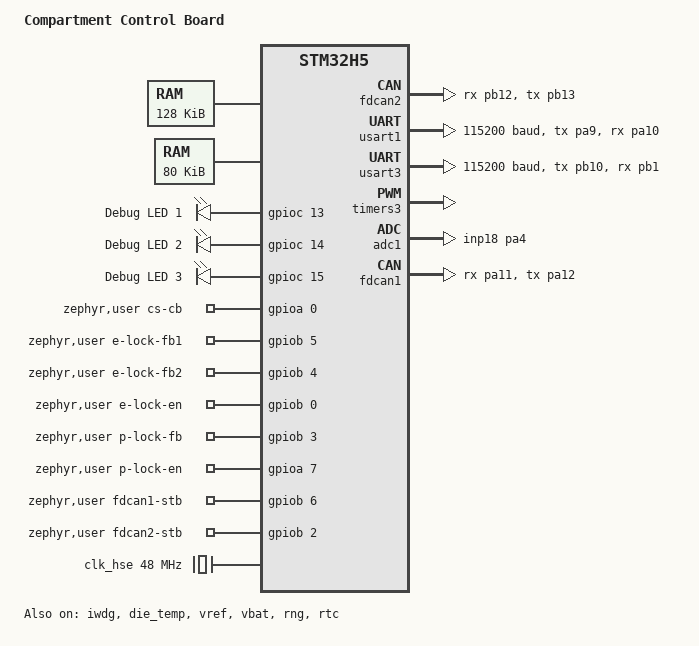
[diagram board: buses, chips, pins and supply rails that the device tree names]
/*
* Copyright (c) 2024 STMicroelectronics
*
* SPDX-License-Identifier: Apache-2.0
*/

/dts-v1/;
#include <mem.h>
#include <st/h5/stm32h5.dtsi>
#include <st/h5/stm32h523cctx-pinctrl.dtsi>
#include <zephyr/dt-bindings/input/input-event-codes.h>

/ {
	model = "Compartment Control Board";
	compatible = "st,nucleo";
	
	sram1: memory@20000000 {
		compatible = "zephyr,memory-region", "mmio-sram";
		reg = <0x20000000 DT_SIZE_K(128)>;
		zephyr,memory-region = "SRAM1";
	};
	
	sram2: memory@20040000 {
		compatible = "zephyr,memory-region", "mmio-sram";
		reg = <0x20040000 DT_SIZE_K(80)>;
		zephyr,memory-region = "SRAM2";
	};
	
	
	soc {
		
		compatible = "st,stm32h533", "st,stm32h5", "simple-bus";
		
		flash-controller@40022000 {
			flash0: flash@8000000 {
				reg = <0x08000000 DT_SIZE_K(512)>;
			};
		};
		
		gpiof: gpio@42021400 {
			compatible = "st,stm32-gpio";
			gpio-controller;
			#gpio-cells = <2>;
			reg = <0x42021400 0x400>;
			clocks = <&rcc STM32_CLOCK_BUS_AHB2 0x00000080>;
		};
		
		fdcan2: can@4000a800 {
			compatible = "st,stm32-fdcan";
			reg = <0x4000a800 0x400>, <0x4000ac00 0x6a0>;
			reg-names = "m_can", "message_ram";
			interrupts = <109 0>, <110 0>;
			interrupt-names = "int0", "int1";
			/* common clock FDCAN 1 & 2 */
			clocks = <&rcc STM32_CLOCK_BUS_APB1_2 0x00000200>;
			bosch,mram-cfg = <0x350 28 8 3 3 0 3 3>;
			status = "disabled";
		};
	};
	
	chosen {
		zephyr,console = &usart1;
		zephyr,shell-uart = &usart1;
		zephyr,sram = &sram1;
		zephyr,flash = &flash0;
		zephyr,code-partition = &slot0_partition;
	};
	
	leds: leds {
		compatible = "gpio-leds";
		led_1_2: led_0 {
			gpios = <&gpioc 13 GPIO_ACTIVE_HIGH>;
			label = "Debug LED 1";
		};
		
		led_2_2: led_1 {
			gpios = <&gpioc 14 GPIO_ACTIVE_HIGH>;
			label = "Debug LED 2";
		};
		
		led_3_2: led_2 {
			gpios = <&gpioc 15 GPIO_ACTIVE_HIGH>;
			label = "Debug LED 3";
		};
	};
	
	zephyr,user {
		cs-cb-gpios = <&gpioa 0 GPIO_ACTIVE_HIGH>;
		e-lock-fb1-gpios = <&gpiob 5 GPIO_ACTIVE_HIGH>;
		e-lock-fb2-gpios = <&gpiob 4 GPIO_ACTIVE_HIGH>;
		e-lock-en-gpios = <&gpiob 0 GPIO_ACTIVE_HIGH>;
		p-lock-fb-gpios = <&gpiob 3 GPIO_ACTIVE_HIGH>;
		p-lock-en-gpios = <&gpioa 7 GPIO_ACTIVE_HIGH>;
		fdcan1-stb-gpios = <&gpiob 6 GPIO_ACTIVE_HIGH>;
		fdcan2-stb-gpios = <&gpiob 2 GPIO_ACTIVE_HIGH>;
	};
	
	aliases {
		debug-led1 = &led_1_2;
		debug-led2 = &led_2_2;
		debug-led3 = &led_3_2;
		
		state-fb = &adc1;
		
		rfid = &usart3;
		
		bat-can = &fdcan1;
		system-can = &fdcan2;
		
		watchdog0 = &iwdg;
		die-temp0 = &die_temp;
		volt-sensor0 = &vref;
		volt-sensor1 = &vbat;
	};
};

&clk_csi {
	status = "disabled";
};

&clk_hsi {
	status = "disabled";
};

&clk_hse {
	clock-frequency = <DT_FREQ_M(48)>;
	status = "okay";
};

&pll {
	div-m = <3>;
	mul-n = <8>;
	div-p = <2>;
	div-q = <2>;
	div-r = <2>;
	clocks = <&clk_hse>;
	status = "okay";
};

&rcc {
	clocks = <&pll>;
	clock-frequency = <DT_FREQ_M(64)>;
	ahb-prescaler = <1>;
	apb1-prescaler = <1>;
	apb2-prescaler = <1>;
	apb3-prescaler = <1>;
};

&usart1 {
	pinctrl-0 = <&usart1_tx_pa9 &usart1_rx_pa10>;
	pinctrl-names = "default";
	current-speed = <115200>;
	status = "okay";
};

&usart3 {
	pinctrl-0 = <&usart3_tx_pb10 &usart3_rx_pb1>;
	pinctrl-names = "default";
	current-speed = <115200>;
	status = "okay";
};

&iwdg {
	status = "okay";
};

&timers3 {
	st,prescaler = <1000>;
	status = "okay";
	
	pwm3: pwm {
		pinctrl-0 = <&tim3_ch3_pb0>;
		pinctrl-names = "default";
		status = "okay";
	};
};

&adc1 {
	pinctrl-0 = <&adc1_inp18_pa4>;
	pinctrl-names = "default";
	st,adc-clock-source = <ASYNC>;
	st,adc-prescaler = <8>;
	status = "okay";
};

&fdcan1 {
	pinctrl-0 = <&fdcan1_rx_pa11 &fdcan1_tx_pa12>;
	pinctrl-names = "default";
	clocks = <&rcc STM32_CLOCK_BUS_APB1_2 0x00000200>,
	<&rcc STM32_SRC_PLL1_Q FDCAN_SEL(1)>;
	clk-divider = <2>;
	status = "okay";
};

&fdcan2 {
	pinctrl-0 = <&fdcan2_rx_pb12 &fdcan2_tx_pb13>;
	pinctrl-names = "default";
	clocks = <&rcc STM32_CLOCK_BUS_APB1_2 0x00000200>,
	<&rcc STM32_SRC_PLL1_Q FDCAN_SEL(1)>;
	clk-divider = <2>;
	status = "okay";
};

&die_temp {
	status = "okay";
};

&vref {
	status = "okay";
};

&vbat {
	status = "okay";
};

&rng {
	status = "okay";
};

&clk_lse {
	status = "disabled";
};

&rtc {
	clocks = <&rcc STM32_CLOCK_BUS_APB3 0x00200000>,
	<&rcc STM32_SRC_LSE RTC_SEL(1)>;
	status = "okay";
};

&flash0 {
	partitions {
		compatible = "fixed-partitions";
		#address-cells = <1>;
		#size-cells = <1>;

		boot_partition: partition@0 {
			label = "mcuboot";
			reg = <0x00000000 DT_SIZE_K(112)>;
			read-only;
		};
		/* The MCUBoot swap-move algorithm uses the last 2 sectors
		 * of the primary slot0 for swap status and move.
		 */
		slot0_partition: partition@1c000 {
			label = "image-0";
			reg = <0x0001c000 (DT_SIZE_K(128))>;
		};
		scratch_partition: partition@3c000 {
			label = "image-scratch";
			reg = <0x0003c000 DT_SIZE_K(32)>;
		};
	};
};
